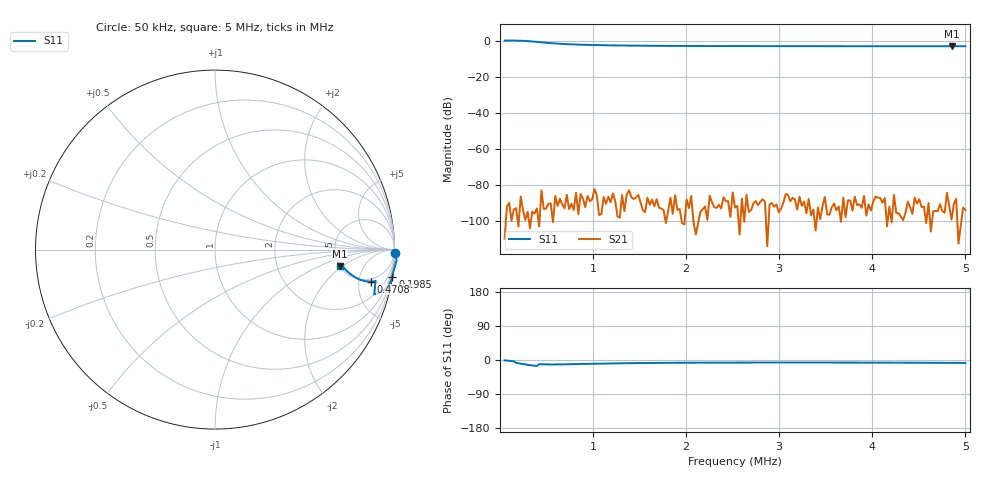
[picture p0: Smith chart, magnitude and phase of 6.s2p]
! NanoVNA-App by OneOfEleven et al v1.1.209 (+OD15)
! Date: 2024-07-30 12:37:13
! Start: 50kHz Stop: 5MHz Points: 201
! S-Parameter data: F S11 S21 S12 S22
# Hz S RI R 50
!  Frequency  S11_Real  S11_Imag  S21_Real  S21_Imag  S12_Real  S12_Imag  S22_Real  S22_Imag
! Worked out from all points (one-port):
!   201 points, 50 kHz to 5 MHz, reference 50 ohm
!   lowest |S11| = -3.1 dB at 4.851 MHz (marker M1), VSWR 5.69, Z = 250 - j90.8 ohm
!   |S11| at or under -10 dB: nowhere
!   S11 on the Smith chart (normalised r, x): 50 kHz: open; 198.5 kHz: 0, -13; 470.8 kHz: 4.36, -7.24; 5 MHz: 4.99, -1.85
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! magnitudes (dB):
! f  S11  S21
! 50 kHz  0.0  -109.8
! 74.75 kHz  0.0  -91.9
! 149 kHz  0.1  -93.5
! 173.8 kHz  0.0  -92.8
! 198.5 kHz  0.0  -103.0
! 248 kHz  -0.1  -94.1
! 297.5 kHz  -0.2  -94.9
! 470.8 kHz  -1.1  -93.3
! 569.8 kHz  -1.5  -100.6
! 668.8 kHz  -1.8  -90.7
! 718.2 kHz  -1.9  -85.5
! 891.5 kHz  -2.3  -87.5
! 1.089 MHz  -2.5  -96.2
! 1.263 MHz  -2.7  -97.5
! 1.436 MHz  -2.8  -87.8
! 1.708 MHz  -2.9  -92.6
! 2.079 MHz  -3.0  -100.6
! 2.525 MHz  -3.0  -92.5
! 3.366 MHz  -3.1  -93.5
! 4.183 MHz  -3.1  -92.0
! 4.851 MHz  -3.1  -99.2
! 5 MHz  -3.1  -93.9
